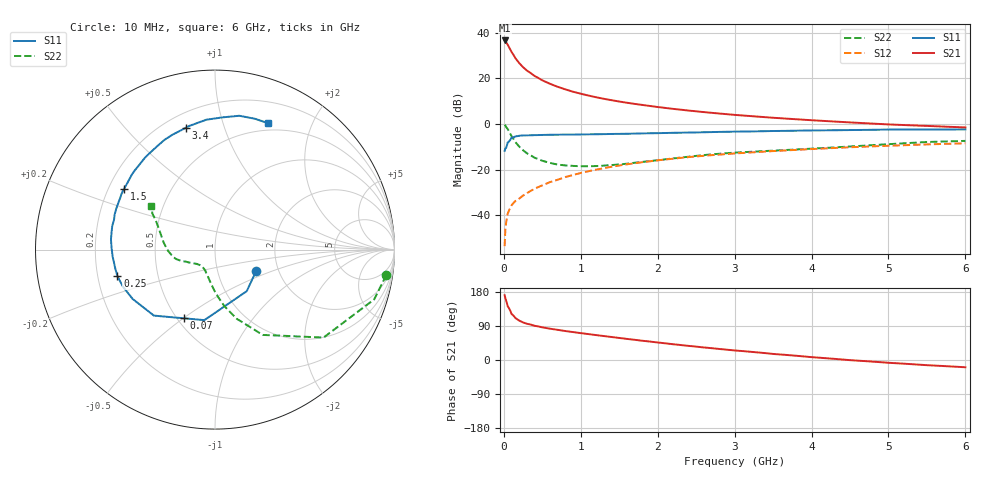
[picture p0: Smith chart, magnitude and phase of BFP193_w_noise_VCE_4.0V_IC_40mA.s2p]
! Infineon Technologies  Discrete & RF Semiconductors
! BFP193
! VCE =  4.0 V,  IC =  40 mA
! Common Emitter S-Parameters:  Jan 2017
# GHz  S  MA  R  50
!  f  S11  S21  S12  S22
! GHz  MAG  ANG  MAG  ANG  MAG  ANG  MAG  ANG
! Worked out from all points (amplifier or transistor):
!   77 points, 10 MHz to 6 GHz, reference 50 ohm
!   highest |S21| = 36.7 dB at 10 MHz (marker M1)
!   |S21| within 3 dB of that: start of sweep to 68.4 MHz
!   unconditionally stable (mu >= 1): 630.9 MHz to 2.433 GHz
!   at 130 MHz: K = 0.57, MSG = 32.3 dB, |S12| = -34.5 dB
!   at 2.2 GHz: K = 1.01, MAG = 10.3 dB, |S12| = -15.2 dB
!   at 6 GHz: K = 0.93, MSG = 3.5 dB, |S12| = -8.4 dB
!   lowest NFmin = 1.38 dB at 450 MHz
!   S11 on the Smith chart (normalised r, x): 10 MHz: 1.53, -0.40; 70 MHz: 0.54, -0.50; 250 MHz: 0.28, -0.12; 1.5 GHz: 0.26, +0.28; 3.4 GHz: 0.28, +0.75; 6 GHz: 0.42, +1.42
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0.01  0.2587 -28.0  68.14 171.1  0.0021 86.3  0.9647 -8.5
0.02  0.2915 -52.7  67 162.9  0.005 82.7  0.929 -17.4
0.05  0.3974 -98.6  55.06 142.0  0.0108 65.0  0.7784 -39.0
0.07  0.4196 -114.2  47.68 135.6  0.0131 62.0  0.6745 -45.9
0.1  0.5011 -132.8  38.26 121.6  0.0165 59.0  0.5453 -60.7
0.15  0.5349 -149.1  27.88 110.8  0.0205 57.9  0.4036 -72.6
0.2  0.5528 -158.0  21.72 104.0  0.0232 59.2  0.3202 -80.5
0.25  0.5634 -164.7  17.69 99.1  0.027 60.3  0.2665 -86.0
0.3  0.5655 -169.4  14.88 95.7  0.0305 61.0  0.2288 -90.9
0.4  0.5717 -176.2  11.34 90.3  0.0381 65.0  0.1829 -98.2
0.5  0.5768 178.7  9.11 86.2  0.0453 65.6  0.1568 -104.3
0.6  0.5824 174.3  7.642 82.6  0.0534 66.7  0.1406 -110.2
0.7  0.5843 170.5  6.559 79.6  0.0601 67.3  0.1291 -114.7
0.9  0.5864 163.6  5.116 73.7  0.0764 66.0  0.1209 -123.1
1.1  0.5954 157.6  4.218 68.4  0.0924 65.2  0.1188 -130.4
1.5  0.6096 146.2  3.119 58.2  0.1234 61.3  0.1303 -142.5
2.1  0.6369 130.0  2.258 44.0  0.167 54.0  0.1688 -155.7
3.1  0.685 108.8  1.544 23.6  0.2322 41.2  0.241 -171.9
3.4  0.6983 103.4  1.415 18.1  0.2496 37.8  0.2562 -176.9
4.1  0.7271 92.3  1.187 6.1  0.2882 29.5  0.2949 169.9
5.1  0.7579 78.4  0.967 -8.5  0.3391 18.0  0.3702 153.6
6  0.7637 67.3  0.843 -19.2  0.3787 7.9  0.4278 145.8
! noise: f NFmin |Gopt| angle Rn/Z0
0.45  1.38  0.38  -172  0.08
0.9  1.43  0.41  -167  0.08
1.9  2.05  0.59  -135  0.2
2.4  2.37  0.63  -120  0.42
